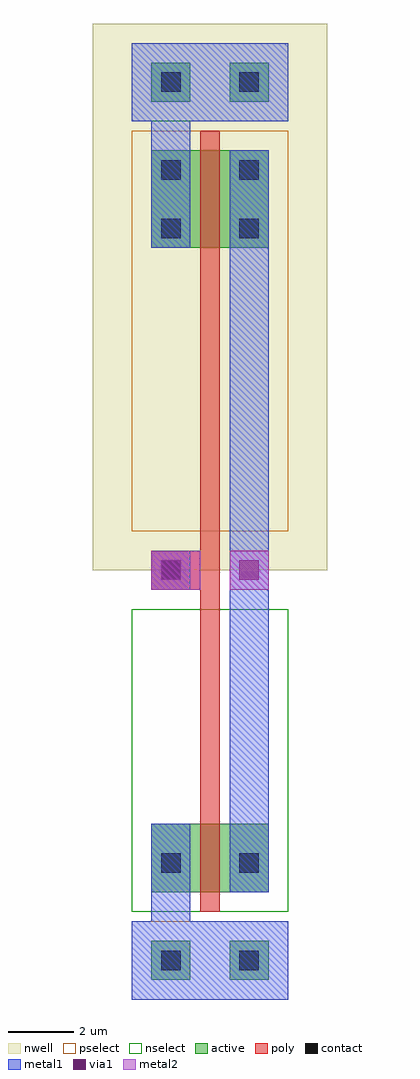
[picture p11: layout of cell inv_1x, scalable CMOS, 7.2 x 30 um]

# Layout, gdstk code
import gdstk
lib = gdstk.Library(unit=1e-6, precision=1e-09)
def R(c, l, rs):  # rectangles x0, y0, x1, y1
    for r in rs: c.add(gdstk.rectangle(r[:2], r[2:], *l))
contact = (25, 0)
nwell = (42, 0)
active = (43, 0)
pselect = (44, 0)
nselect = (45, 0)
poly = (46, 0)
metal1 = (49, 0)
via1 = (50, 0)
metal2 = (51, 0)

inv_1x = lib.new_cell('inv_1x')
R(inv_1x, contact, [(0.9,-0.3,1.5,0.3), (3.3,-0.3,3.9,0.3), (0.9,2.7,1.5,3.3), (3.3,2.7,3.9,3.3), (0.9,11.7,1.5,12.3), (0.9,22.2,1.5,22.8), (3.3,22.2,3.9,22.8), (0.9,24,1.5,24.6), (3.3,24,3.9,24.6), (0.9,26.7,1.5,27.3), (3.3,26.7,3.9,27.3)])
R(inv_1x, nwell, [(-1.2,12,6,28.8)])
R(inv_1x, active, [(0.6,-0.6,1.8,0.6), (3,-0.6,4.2,0.6), (0.6,2.1,4.2,4.2), (0.6,21.9,4.2,24.9), (0.6,26.4,1.8,27.6), (3,26.4,4.2,27.6)])
R(inv_1x, pselect, [(0,-1.2,4.8,1.2), (0,13.2,4.8,25.5)])
R(inv_1x, nselect, [(0,1.5,4.8,10.8), (0,25.8,4.8,28.2)])
R(inv_1x, poly, [(2.1,1.5,2.7,25.5), (0.6,11.4,2.1,12.6)])
R(inv_1x, metal1, [(0,-1.2,4.8,1.2), (0,-1.2,4.8,1.2), (0.6,1.2,1.8,4.2), (3,2.1,4.2,24.9), (0.6,11.4,1.8,12.6), (0.6,21.9,1.8,25.8), (0,25.8,4.8,28.2), (0,25.8,4.8,28.2)])
R(inv_1x, via1, [(0.9,11.7,1.5,12.3), (3.3,11.7,3.9,12.3)])
R(inv_1x, metal2, [(0.6,11.4,1.8,12.6), (0.6,11.4,1.8,12.6), (0.6,11.4,1.8,12.6), (0.9,11.4,2.1,12.6), (3,11.4,4.2,12.6), (3,11.4,4.2,12.6)])

lib.write_gds('inv_1x.gds')
